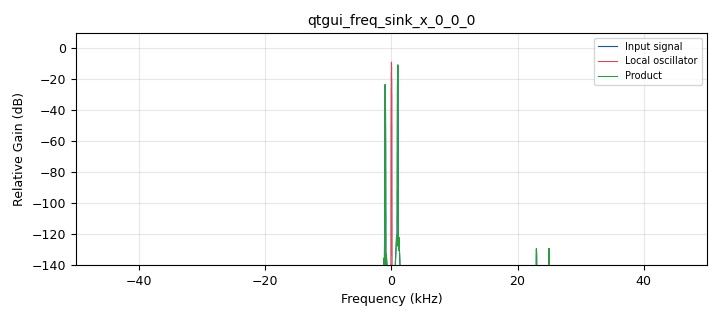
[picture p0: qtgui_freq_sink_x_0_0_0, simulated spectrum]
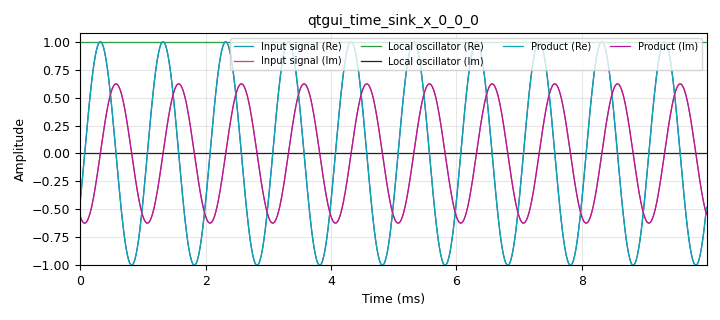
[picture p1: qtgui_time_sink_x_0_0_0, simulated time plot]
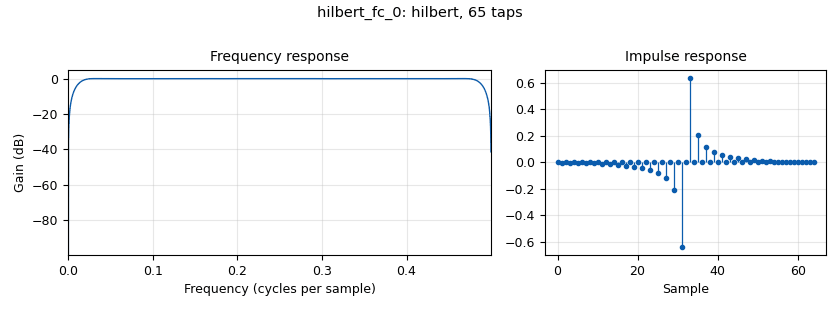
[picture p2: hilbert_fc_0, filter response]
options:
  parameters:
    generate_options: qt_gui
    id: iq_sampling2
    output_language: python
    title: Not titled yet
  states: {}

blocks:
- name: frequency
  id: variable_qtgui_entry
  parameters:
    label: Frequency (Hz)
    type: real
    value: '1000'
  states: {}
- name: lo_frequency
  id: variable_qtgui_entry
  parameters:
    label: Local Oscillator Frequency (Hz)
    type: real
    value: '0'
  states: {}
- name: samp_rate
  id: variable
  parameters:
    value: '100_000'
  states: {}
- name: analog_sig_source_x_0
  id: analog_sig_source_x
  parameters:
    amp: '1'
    freq: frequency
    offset: '0'
    phase: '0'
    samp_rate: samp_rate
    type: float
    waveform: analog.GR_COS_WAVE
  states: {state: disabled}
- name: analog_sig_source_x_0_0
  id: analog_sig_source_x
  parameters:
    amp: '1'
    freq: lo_frequency
    offset: '0'
    phase: '0'
    samp_rate: samp_rate
    type: float
    waveform: analog.GR_COS_WAVE
  states: {state: disabled}
- name: analog_sig_source_x_0_0_0
  id: analog_sig_source_x
  parameters:
    amp: '1'
    freq: lo_frequency
    offset: '0'
    phase: '0'
    samp_rate: samp_rate
    type: complex
    waveform: analog.GR_COS_WAVE
  states: {state: disabled}
- name: analog_sig_source_x_0_0_0_0
  id: analog_sig_source_x
  parameters:
    amp: '1'
    freq: lo_frequency
    offset: '0'
    phase: '0'
    samp_rate: samp_rate
    type: complex
    waveform: analog.GR_COS_WAVE
  states: {}
- name: analog_sig_source_x_0_1
  id: analog_sig_source_x
  parameters:
    amp: '1'
    freq: frequency
    offset: '0'
    phase: '0'
    samp_rate: samp_rate
    type: complex
    waveform: analog.GR_COS_WAVE
  states: {state: disabled}
- name: analog_sig_source_x_0_1_0
  id: analog_sig_source_x
  parameters:
    amp: '1'
    freq: frequency
    offset: '0'
    phase: '0'
    samp_rate: samp_rate
    type: float
    waveform: analog.GR_COS_WAVE
  states: {}
- name: blocks_complex_to_float_0
  id: blocks_complex_to_float
  parameters: {}
  states: {state: disabled}
- name: blocks_conjugate_cc_0
  id: blocks_conjugate_cc
  parameters: {}
  states: {state: disabled}
- name: blocks_float_to_complex_0
  id: blocks_float_to_complex
  parameters: {}
  states: {state: disabled}
- name: blocks_float_to_complex_0_0
  id: blocks_float_to_complex
  parameters: {}
  states: {state: disabled}
- name: blocks_float_to_complex_1
  id: blocks_float_to_complex
  parameters: {}
  states: {state: disabled}
- name: blocks_multiply_conjugate_cc_0
  id: blocks_multiply_conjugate_cc
  parameters: {}
  states: {state: disabled}
- name: blocks_multiply_xx_0
  id: blocks_multiply_xx
  parameters:
    type: float
  states: {state: disabled}
- name: blocks_multiply_xx_0_0
  id: blocks_multiply_xx
  parameters:
    type: complex
  states: {state: disabled}
- name: blocks_multiply_xx_0_0_0
  id: blocks_multiply_xx
  parameters:
    type: complex
  states: {state: disabled}
- name: blocks_multiply_xx_0_0_1
  id: blocks_multiply_xx
  parameters:
    type: complex
  states: {}
- name: blocks_null_source_0
  id: blocks_null_source
  parameters:
    type: float
  states: {state: disabled}
- name: blocks_null_source_0_0
  id: blocks_null_source
  parameters:
    type: float
  states: {state: disabled}
- name: blocks_throttle2_0
  id: blocks_throttle2
  parameters:
    samples_per_second: samp_rate
    type: float
  states: {state: disabled}
- name: blocks_throttle2_0_0
  id: blocks_throttle2
  parameters:
    samples_per_second: samp_rate
    type: complex
  states: {state: disabled}
- name: blocks_throttle2_0_0_0
  id: blocks_throttle2
  parameters:
    samples_per_second: samp_rate
    type: complex
  states: {}
- name: hilbert_fc_0
  id: hilbert_fc
  parameters:
    num_taps: '65'
  states: {}
- name: qtgui_const_sink_x_0
  id: qtgui_const_sink_x
  parameters:
    gui_hint: 0,1
    nconnections: '3'
    size: '1024'
    type: complex
  states: {state: disabled}
- name: qtgui_freq_sink_x_0
  id: qtgui_freq_sink_x
  parameters:
    bw: samp_rate
    fc: '0'
    fftsize: '4096'
    label1: Input signal
    label2: Local oscillator
    label3: Product
    nconnections: '3'
    type: float
  states: {state: disabled}
- name: qtgui_freq_sink_x_0_0
  id: qtgui_freq_sink_x
  parameters:
    bw: samp_rate
    fc: '0'
    fftsize: '4096'
    gui_hint: 1,0
    label1: Input signal
    label2: Local oscillator
    label3: Product
    nconnections: '3'
    type: complex
  states: {state: disabled}
- name: qtgui_freq_sink_x_0_0_0
  id: qtgui_freq_sink_x
  parameters:
    bw: samp_rate
    fc: '0'
    fftsize: '4096'
    gui_hint: 1,0
    label1: Input signal
    label2: Local oscillator
    label3: Product
    nconnections: '3'
    type: complex
  states: {}
- name: qtgui_time_sink_x_0
  id: qtgui_time_sink_x
  parameters:
    label1: Input signal
    label2: Local oscillator
    label3: Product
    nconnections: '3'
    size: '1000'
    srate: samp_rate
    type: float
  states: {state: disabled}
- name: qtgui_time_sink_x_0_0
  id: qtgui_time_sink_x
  parameters:
    gui_hint: 0,0
    label1: Input signal (Re)
    label2: Input signal (Im)
    label3: Local oscillator (Re)
    label4: Local oscillator (Im)
    label5: Product (Re)
    label6: Product (Im)
    nconnections: '3'
    size: '1000'
    srate: samp_rate
    type: complex
  states: {state: disabled}
- name: qtgui_time_sink_x_0_0_0
  id: qtgui_time_sink_x
  parameters:
    gui_hint: 0,0
    label1: Input signal (Re)
    label2: Input signal (Im)
    label3: Local oscillator (Re)
    label4: Local oscillator (Im)
    label5: Product (Re)
    label6: Product (Im)
    nconnections: '3'
    size: '1000'
    srate: samp_rate
    type: complex
  states: {}

connections:
- [analog_sig_source_x_0, '0', blocks_multiply_xx_0, '0']
- [analog_sig_source_x_0, '0', blocks_throttle2_0, '0']
- [analog_sig_source_x_0_0, '0', blocks_multiply_xx_0, '1']
- [analog_sig_source_x_0_0, '0', qtgui_freq_sink_x_0, '1']
- [analog_sig_source_x_0_0, '0', qtgui_time_sink_x_0, '1']
- [analog_sig_source_x_0_0_0, '0', blocks_conjugate_cc_0, '0']
- [analog_sig_source_x_0_0_0, '0', blocks_multiply_conjugate_cc_0, '1']
- [analog_sig_source_x_0_0_0, '0', blocks_multiply_xx_0_0, '1']
- [analog_sig_source_x_0_0_0, '0', qtgui_freq_sink_x_0_0, '1']
- [analog_sig_source_x_0_0_0, '0', qtgui_time_sink_x_0_0, '1']
- [analog_sig_source_x_0_0_0_0, '0', blocks_multiply_xx_0_0_1, '1']
- [analog_sig_source_x_0_0_0_0, '0', qtgui_freq_sink_x_0_0_0, '1']
- [analog_sig_source_x_0_0_0_0, '0', qtgui_time_sink_x_0_0_0, '1']
- [analog_sig_source_x_0_1, '0', blocks_multiply_conjugate_cc_0, '0']
- [analog_sig_source_x_0_1, '0', blocks_multiply_xx_0_0, '0']
- [analog_sig_source_x_0_1, '0', blocks_multiply_xx_0_0_0, '0']
- [analog_sig_source_x_0_1, '0', blocks_throttle2_0_0, '0']
- [analog_sig_source_x_0_1_0, '0', blocks_float_to_complex_0_0, '0']
- [analog_sig_source_x_0_1_0, '0', hilbert_fc_0, '0']
- [blocks_complex_to_float_0, '0', blocks_float_to_complex_0, '0']
- [blocks_complex_to_float_0, '1', blocks_float_to_complex_1, '1']
- [blocks_conjugate_cc_0, '0', blocks_multiply_xx_0_0_0, '1']
- [blocks_float_to_complex_0, '0', qtgui_const_sink_x_0, '1']
- [blocks_float_to_complex_0_0, '0', blocks_throttle2_0_0_0, '0']
- [blocks_float_to_complex_1, '0', qtgui_const_sink_x_0, '2']
- [blocks_multiply_xx_0, '0', qtgui_freq_sink_x_0, '2']
- [blocks_multiply_xx_0, '0', qtgui_time_sink_x_0, '2']
- [blocks_multiply_xx_0_0, '0', qtgui_freq_sink_x_0_0, '2']
- [blocks_multiply_xx_0_0, '0', qtgui_time_sink_x_0_0, '2']
- [blocks_multiply_xx_0_0_1, '0', qtgui_freq_sink_x_0_0_0, '2']
- [blocks_multiply_xx_0_0_1, '0', qtgui_time_sink_x_0_0_0, '2']
- [blocks_null_source_0, '0', blocks_float_to_complex_0, '1']
- [blocks_null_source_0, '0', blocks_float_to_complex_1, '0']
- [blocks_null_source_0_0, '0', blocks_float_to_complex_0_0, '1']
- [blocks_throttle2_0, '0', qtgui_freq_sink_x_0, '0']
- [blocks_throttle2_0, '0', qtgui_time_sink_x_0, '0']
- [blocks_throttle2_0_0, '0', blocks_complex_to_float_0, '0']
- [blocks_throttle2_0_0, '0', qtgui_const_sink_x_0, '0']
- [blocks_throttle2_0_0, '0', qtgui_freq_sink_x_0_0, '0']
- [blocks_throttle2_0_0, '0', qtgui_time_sink_x_0_0, '0']
- [blocks_throttle2_0_0_0, '0', blocks_multiply_xx_0_0_1, '0']
- [blocks_throttle2_0_0_0, '0', qtgui_freq_sink_x_0_0_0, '0']
- [blocks_throttle2_0_0_0, '0', qtgui_time_sink_x_0_0_0, '0']
- [hilbert_fc_0, '0', blocks_throttle2_0_0_0, '0']

metadata:
  file_format: 1
  grc_version: 3.10.12.0
